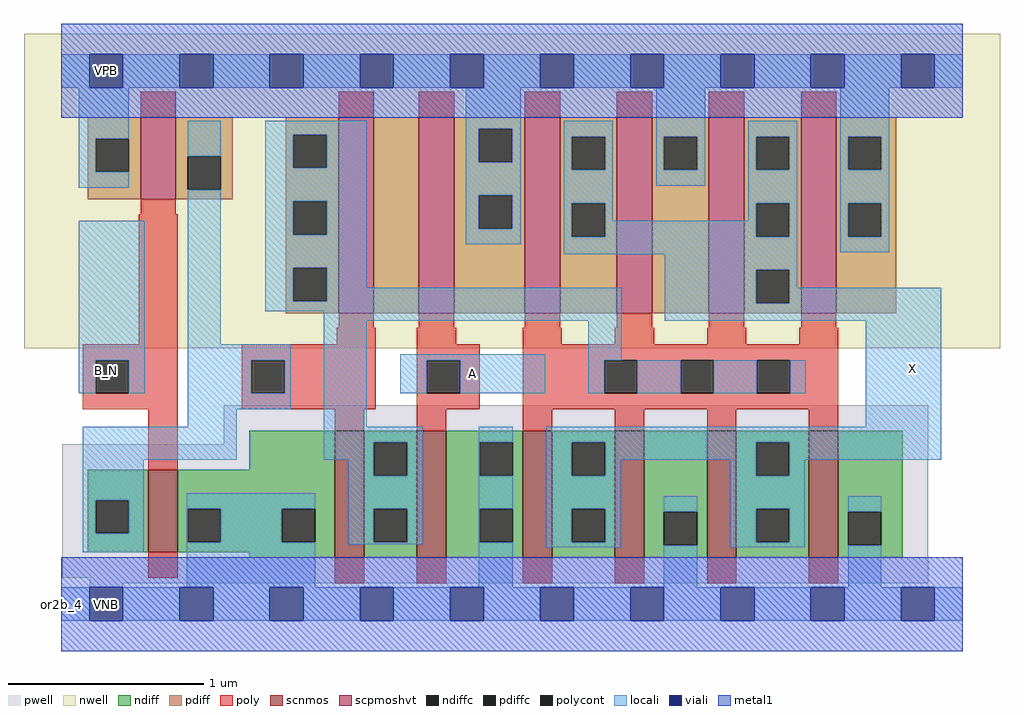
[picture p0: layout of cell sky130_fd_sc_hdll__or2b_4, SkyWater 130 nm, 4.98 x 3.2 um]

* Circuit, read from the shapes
.subckt sky130_fd_sc_hdll__or2b_4 A B_N VGND VNB VPB VPWR X
XM1 VGND B_N n1 VNB sky130_fd_pr__nfet_01v8 w=0.42 l=0.15
XM2 n2 n1 VGND VNB sky130_fd_pr__nfet_01v8 w=0.65 l=0.15
XM3 VGND A n2 VNB sky130_fd_pr__nfet_01v8 w=0.65 l=0.15
XM4 X n2 VGND VNB sky130_fd_pr__nfet_01v8 w=0.65 l=0.15 m=4
XM5 n1 B_N VPWR VPB sky130_fd_pr__pfet_01v8_hvt w=0.42 l=0.18
XM6 n3 n1 n2 VPB sky130_fd_pr__pfet_01v8_hvt w=1 l=0.18
XM7 VPWR A n3 VPB sky130_fd_pr__pfet_01v8_hvt w=1 l=0.18
XM8 X n2 VPWR VPB sky130_fd_pr__pfet_01v8_hvt w=1 l=0.18 m=4
.ends

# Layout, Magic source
magic
tech sky130A
magscale 1 2
<< nwell >>
rect -38 261 958 582
<< pwell >>
rect 166 163 885 203
rect 1 27 885 163
rect 29 21 885 27
rect 29 -17 63 21
<< scnmos >>
rect 89 53 119 137
rect 279 47 309 177
rect 363 47 393 177
rect 471 47 501 177
rect 565 47 595 177
rect 659 47 689 177
rect 763 47 793 177
<< scpmoshvt >>
rect 81 413 117 497
rect 283 297 319 497
rect 365 297 401 497
rect 473 297 509 497
rect 567 297 603 497
rect 661 297 697 497
rect 755 297 791 497
<< ndiff >>
rect 192 137 279 177
rect 27 106 89 137
rect 27 72 35 106
rect 69 72 89 106
rect 27 53 89 72
rect 119 97 279 137
rect 119 63 129 97
rect 163 63 225 97
rect 259 63 279 97
rect 119 53 279 63
rect 192 47 279 53
rect 309 165 363 177
rect 309 131 319 165
rect 353 131 363 165
rect 309 97 363 131
rect 309 63 319 97
rect 353 63 363 97
rect 309 47 363 63
rect 393 165 471 177
rect 393 131 427 165
rect 461 131 471 165
rect 393 97 471 131
rect 393 63 427 97
rect 461 63 471 97
rect 393 47 471 63
rect 501 165 565 177
rect 501 131 521 165
rect 555 131 565 165
rect 501 97 565 131
rect 501 63 521 97
rect 555 63 565 97
rect 501 47 565 63
rect 595 94 659 177
rect 595 60 615 94
rect 649 60 659 94
rect 595 47 659 60
rect 689 165 763 177
rect 689 131 709 165
rect 743 131 763 165
rect 689 97 763 131
rect 689 63 709 97
rect 743 63 763 97
rect 689 47 763 63
rect 793 94 859 177
rect 793 60 803 94
rect 837 60 859 94
rect 793 47 859 60
<< pdiff >>
rect 27 475 81 497
rect 27 441 35 475
rect 69 441 81 475
rect 27 413 81 441
rect 117 457 175 497
rect 117 423 129 457
rect 163 423 175 457
rect 117 413 175 423
rect 229 479 283 497
rect 229 445 237 479
rect 271 445 283 479
rect 229 411 283 445
rect 229 377 237 411
rect 271 377 283 411
rect 229 343 283 377
rect 229 309 237 343
rect 271 309 283 343
rect 229 297 283 309
rect 319 297 365 497
rect 401 485 473 497
rect 401 451 426 485
rect 460 451 473 485
rect 401 417 473 451
rect 401 383 426 417
rect 460 383 473 417
rect 401 297 473 383
rect 509 477 567 497
rect 509 443 521 477
rect 555 443 567 477
rect 509 409 567 443
rect 509 375 521 409
rect 555 375 567 409
rect 509 297 567 375
rect 603 477 661 497
rect 603 443 615 477
rect 649 443 661 477
rect 603 297 661 443
rect 697 477 755 497
rect 697 443 709 477
rect 743 443 755 477
rect 697 409 755 443
rect 697 375 709 409
rect 743 375 755 409
rect 697 341 755 375
rect 697 307 709 341
rect 743 307 755 341
rect 697 297 755 307
rect 791 477 852 497
rect 791 443 803 477
rect 837 443 852 477
rect 791 409 852 443
rect 791 375 803 409
rect 837 375 852 409
rect 791 297 852 375
<< ndiffc >>
rect 35 72 69 106
rect 129 63 163 97
rect 225 63 259 97
rect 319 131 353 165
rect 319 63 353 97
rect 427 131 461 165
rect 427 63 461 97
rect 521 131 555 165
rect 521 63 555 97
rect 615 60 649 94
rect 709 131 743 165
rect 709 63 743 97
rect 803 60 837 94
<< pdiffc >>
rect 35 441 69 475
rect 129 423 163 457
rect 237 445 271 479
rect 237 377 271 411
rect 237 309 271 343
rect 426 451 460 485
rect 426 383 460 417
rect 521 443 555 477
rect 521 375 555 409
rect 615 443 649 477
rect 709 443 743 477
rect 709 375 743 409
rect 709 307 743 341
rect 803 443 837 477
rect 803 375 837 409
<< poly >>
rect 81 497 117 523
rect 283 497 319 523
rect 365 497 401 523
rect 473 497 509 523
rect 567 497 603 523
rect 661 497 697 523
rect 755 497 791 523
rect 81 398 117 413
rect 79 265 119 398
rect 283 282 319 297
rect 365 282 401 297
rect 473 282 509 297
rect 567 282 603 297
rect 661 282 697 297
rect 755 282 791 297
rect 281 265 321 282
rect 22 249 119 265
rect 22 215 35 249
rect 69 215 119 249
rect 22 199 119 215
rect 184 249 321 265
rect 184 215 194 249
rect 228 215 321 249
rect 184 199 321 215
rect 363 265 403 282
rect 471 265 511 282
rect 565 265 605 282
rect 659 265 699 282
rect 753 265 793 282
rect 363 249 427 265
rect 363 215 373 249
rect 407 215 427 249
rect 363 199 427 215
rect 471 249 793 265
rect 471 215 554 249
rect 588 215 632 249
rect 666 215 710 249
rect 744 215 793 249
rect 471 199 793 215
rect 89 137 119 199
rect 279 177 309 199
rect 363 177 393 199
rect 471 177 501 199
rect 565 177 595 199
rect 659 177 689 199
rect 763 177 793 199
rect 89 27 119 53
rect 279 21 309 47
rect 363 21 393 47
rect 471 21 501 47
rect 565 21 595 47
rect 659 21 689 47
rect 763 21 793 47
<< polycont >>
rect 35 215 69 249
rect 194 215 228 249
rect 373 215 407 249
rect 554 215 588 249
rect 632 215 666 249
rect 710 215 744 249
<< locali >>
rect 0 527 29 561
rect 63 527 121 561
rect 155 527 213 561
rect 247 527 305 561
rect 339 527 397 561
rect 431 527 489 561
rect 523 527 581 561
rect 615 527 673 561
rect 707 527 765 561
rect 799 527 857 561
rect 891 527 920 561
rect 18 475 69 527
rect 18 441 35 475
rect 18 425 69 441
rect 129 457 163 493
rect 18 249 85 391
rect 18 215 35 249
rect 69 215 85 249
rect 129 265 163 423
rect 208 479 312 493
rect 208 445 237 479
rect 271 445 312 479
rect 208 411 312 445
rect 208 377 237 411
rect 271 377 312 411
rect 208 343 312 377
rect 413 485 469 527
rect 413 451 426 485
rect 460 451 469 485
rect 413 417 469 451
rect 413 383 426 417
rect 460 383 469 417
rect 413 367 469 383
rect 513 477 563 493
rect 513 443 521 477
rect 555 443 563 477
rect 513 409 563 443
rect 607 477 657 527
rect 607 443 615 477
rect 649 443 657 477
rect 607 427 657 443
rect 701 477 751 493
rect 701 443 709 477
rect 743 443 751 477
rect 513 375 521 409
rect 555 391 563 409
rect 701 409 751 443
rect 701 391 709 409
rect 555 375 709 391
rect 743 375 751 409
rect 513 357 751 375
rect 795 477 845 527
rect 795 443 803 477
rect 837 443 845 477
rect 795 409 845 443
rect 795 375 803 409
rect 837 375 845 409
rect 795 359 845 375
rect 208 309 237 343
rect 271 323 312 343
rect 616 341 751 357
rect 271 309 572 323
rect 208 299 572 309
rect 268 289 572 299
rect 616 307 709 341
rect 743 323 751 341
rect 743 307 898 323
rect 616 289 898 307
rect 129 249 234 265
rect 129 215 194 249
rect 228 215 234 249
rect 129 199 234 215
rect 129 181 179 199
rect 22 147 179 181
rect 268 181 312 289
rect 346 249 494 255
rect 346 215 373 249
rect 407 215 494 249
rect 538 249 572 289
rect 538 215 554 249
rect 588 215 632 249
rect 666 215 710 249
rect 744 215 760 249
rect 821 181 898 289
rect 268 165 369 181
rect 268 147 319 165
rect 22 106 84 147
rect 293 131 319 147
rect 353 131 369 165
rect 22 72 35 106
rect 69 72 84 106
rect 22 53 84 72
rect 128 97 259 113
rect 128 63 129 97
rect 163 63 225 97
rect 128 17 259 63
rect 293 97 369 131
rect 293 63 319 97
rect 353 63 369 97
rect 293 61 369 63
rect 426 165 461 181
rect 426 131 427 165
rect 426 97 461 131
rect 426 63 427 97
rect 426 17 461 63
rect 495 165 898 181
rect 495 131 521 165
rect 555 147 709 165
rect 555 131 571 147
rect 495 97 571 131
rect 683 131 709 147
rect 743 147 898 165
rect 743 131 759 147
rect 495 63 521 97
rect 555 63 571 97
rect 495 58 571 63
rect 615 94 649 110
rect 615 17 649 60
rect 683 97 759 131
rect 683 63 709 97
rect 743 63 759 97
rect 683 58 759 63
rect 803 94 837 110
rect 803 17 837 60
rect 0 -17 29 17
rect 63 -17 121 17
rect 155 -17 213 17
rect 247 -17 305 17
rect 339 -17 397 17
rect 431 -17 489 17
rect 523 -17 581 17
rect 615 -17 673 17
rect 707 -17 765 17
rect 799 -17 857 17
rect 891 -17 920 17
<< viali >>
rect 29 527 63 561
rect 121 527 155 561
rect 213 527 247 561
rect 305 527 339 561
rect 397 527 431 561
rect 489 527 523 561
rect 581 527 615 561
rect 673 527 707 561
rect 765 527 799 561
rect 857 527 891 561
rect 29 -17 63 17
rect 121 -17 155 17
rect 213 -17 247 17
rect 305 -17 339 17
rect 397 -17 431 17
rect 489 -17 523 17
rect 581 -17 615 17
rect 673 -17 707 17
rect 765 -17 799 17
rect 857 -17 891 17
<< metal1 >>
rect 0 561 920 592
rect 0 527 29 561
rect 63 527 121 561
rect 155 527 213 561
rect 247 527 305 561
rect 339 527 397 561
rect 431 527 489 561
rect 523 527 581 561
rect 615 527 673 561
rect 707 527 765 561
rect 799 527 857 561
rect 891 527 920 561
rect 0 496 920 527
rect 0 17 920 48
rect 0 -17 29 17
rect 63 -17 121 17
rect 155 -17 213 17
rect 247 -17 305 17
rect 339 -17 397 17
rect 431 -17 489 17
rect 523 -17 581 17
rect 615 -17 673 17
rect 707 -17 765 17
rect 799 -17 857 17
rect 891 -17 920 17
rect 0 -48 920 -17
<< labels >>
flabel locali s 346 215 494 255 0 FreeSans 400 0 0 0 A
port 1 nsew signal input
flabel locali s 29 221 63 255 0 FreeSans 400 0 0 0 B_N
port 2 nsew signal input
flabel locali s 852 223 886 257 0 FreeSans 400 0 0 0 X
port 7 nsew signal output
flabel pwell s 29 -17 63 17 0 FreeSans 200 0 0 0 VNB
port 4 nsew ground bidirectional
flabel nwell s 29 527 63 561 0 FreeSans 200 0 0 0 VPB
port 5 nsew power bidirectional
flabel metal1 s 29 -17 63 17 0 FreeSans 200 0 0 0 VGND
port 3 nsew ground bidirectional
flabel metal1 s 29 527 63 561 0 FreeSans 200 0 0 0 VPWR
port 6 nsew power bidirectional
rlabel comment s 0 0 0 0 4 or2b_4
<< properties >>
string LEFsite unithd
string LEFclass CORE
string FIXED_BBOX 0 0 920 544
string GDS_FILE $PDKPATH/libs.ref/sky130_fd_sc_hdll/gds/sky130_fd_sc_hdll.gds
string LEFsymmetry X Y R90
string GDS_END 1290464
string GDS_START 1283304
string LEFproperties maskLayoutSubType "abstract" prCellType "standard" originalViewName "layout"
<< end >>
